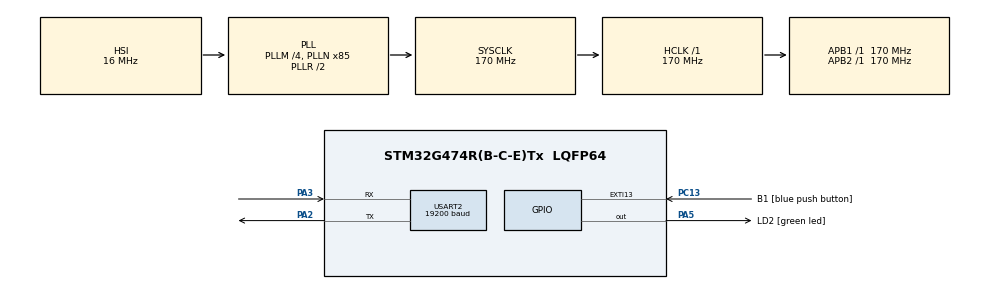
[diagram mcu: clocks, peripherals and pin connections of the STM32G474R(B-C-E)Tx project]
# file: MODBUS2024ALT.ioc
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Dma.Request0=USART2_TX
Dma.Request1=USART2_RX
Dma.USART2_RX.1.Direction=DMA_PERIPH_TO_MEMORY
Dma.USART2_RX.1.EventEnable=DISABLE
Dma.USART2_RX.1.Instance=DMA1_Channel2
Dma.USART2_RX.1.MemDataAlignment=DMA_MDATAALIGN_BYTE
Dma.USART2_RX.1.MemInc=DMA_MINC_ENABLE
Dma.USART2_RX.1.Mode=DMA_NORMAL
Dma.USART2_RX.1.PeriphDataAlignment=DMA_PDATAALIGN_BYTE
Dma.USART2_RX.1.PeriphInc=DMA_PINC_DISABLE
Dma.USART2_RX.1.Polarity=HAL_DMAMUX_REQ_GEN_RISING
Dma.USART2_RX.1.Priority=DMA_PRIORITY_LOW
Dma.USART2_RX.1.RequestNumber=1
Dma.USART2_RX.1.SignalID=NONE
Dma.USART2_RX.1.SyncEnable=DISABLE
Dma.USART2_RX.1.SyncPolarity=HAL_DMAMUX_SYNC_NO_EVENT
Dma.USART2_RX.1.SyncRequestNumber=1
Dma.USART2_RX.1.SyncSignalID=NONE
Dma.USART2_TX.0.Direction=DMA_MEMORY_TO_PERIPH
Dma.USART2_TX.0.EventEnable=DISABLE
Dma.USART2_TX.0.Instance=DMA1_Channel1
Dma.USART2_TX.0.MemDataAlignment=DMA_MDATAALIGN_BYTE
Dma.USART2_TX.0.MemInc=DMA_MINC_ENABLE
Dma.USART2_TX.0.Mode=DMA_NORMAL
Dma.USART2_TX.0.PeriphDataAlignment=DMA_PDATAALIGN_BYTE
Dma.USART2_TX.0.PeriphInc=DMA_PINC_DISABLE
Dma.USART2_TX.0.Polarity=HAL_DMAMUX_REQ_GEN_RISING
Dma.USART2_TX.0.Priority=DMA_PRIORITY_LOW
Dma.USART2_TX.0.RequestNumber=1
Dma.USART2_TX.0.SignalID=NONE
Dma.USART2_TX.0.SyncEnable=DISABLE
Dma.USART2_TX.0.SyncPolarity=HAL_DMAMUX_SYNC_NO_EVENT
Dma.USART2_TX.0.SyncRequestNumber=1
Dma.USART2_TX.0.SyncSignalID=NONE
Mcu.Family=STM32G4
Mcu.Name=STM32G474R(B-C-E)Tx
Mcu.Package=LQFP64
NVIC.DMA1_Channel1_IRQn=true\:0\:0\:false\:false\:true\:false\:true\:true
NVIC.DMA1_Channel2_IRQn=true\:0\:0\:false\:false\:true\:false\:true\:true
NVIC.EXTI15_10_IRQn=true\:0\:0\:false\:false\:true\:true\:true\:true
NVIC.PriorityGroup=NVIC_PRIORITYGROUP_4
NVIC.TIM1_UP_TIM16_IRQn=true\:0\:0\:false\:false\:true\:true\:true\:true
NVIC.USART2_IRQn=true\:0\:0\:false\:false\:true\:true\:true\:true
PA13.GPIO_Label=T_SWDIO
PA13.Mode=Serial_Wire
PA13.Signal=SYS_JTMS-SWDIO
PA14.GPIO_Label=T_SWCLK
PA14.Mode=Serial_Wire
PA14.Signal=SYS_JTCK-SWCLK
PA2.Mode=Asynchronous
PA2.Signal=USART2_TX
PA3.Mode=Asynchronous
PA3.Signal=USART2_RX
PA5.GPIO_Label=LD2 [green led]
PA5.Signal=GPIO_Output
PB3.GPIO_Label=T_SWO
PB3.Signal=SYS_JTDO-SWO
PC13.GPIO_Label=B1 [blue push button]
PC13.Signal=GPXTI13
PC14-OSC32_IN.Mode=LSE-External-Oscillator
PC14-OSC32_IN.Signal=RCC_OSC32_IN
PC15-OSC32_OUT.Mode=LSE-External-Oscillator
PC15-OSC32_OUT.Signal=RCC_OSC32_OUT
PF0-OSC_IN.Mode=HSE-External-Oscillator
PF0-OSC_IN.Signal=RCC_OSC_IN
PF1-OSC_OUT.Mode=HSE-External-Oscillator
PF1-OSC_OUT.Signal=RCC_OSC_OUT
ProjectManager.HeapSize=0x200
ProjectManager.StackSize=0x400
ProjectManager.TargetToolchain=STM32CubeIDE
RCC.ADC12Freq_Value=170000000
RCC.ADC345Freq_Value=170000000
RCC.AHBFreq_Value=170000000
RCC.APB1Freq_Value=170000000
RCC.APB1TimFreq_Value=170000000
RCC.APB2Freq_Value=170000000
RCC.APB2TimFreq_Value=170000000
RCC.CortexFreq_Value=170000000
RCC.EXTERNAL_CLOCK_VALUE=12288000
RCC.HCLKFreq_Value=170000000
RCC.HSE_VALUE=24000000
RCC.HSI48_VALUE=48000000
RCC.HSI_VALUE=16000000
RCC.PLLM=RCC_PLLM_DIV4
RCC.PLLN=85
RCC.RTCClockSelection=RCC_RTCCLKSOURCE_LSE
RCC.SYSCLKFreq_VALUE=170000000
RCC.SYSCLKSource=RCC_SYSCLKSOURCE_PLLCLK
RCC.USBFreq_Value=170000000
RCC.VCOOutputFreq_Value=340000000
TIM16.PeriodNoDither=1145
TIM16.Prescaler=169
TIM2.PeriodNoDither=200000
TIM2.Prescaler=169
USART2.BaudRate=19200
USART2.OneBitSampling=UART_ONE_BIT_SAMPLE_DISABLE
USART2.Parity=PARITY_EVEN
USART2.VirtualMode-Asynchronous=VM_ASYNC
USART2.WordLength=WORDLENGTH_9B
VP_SYS_VS_DBSignals.Mode=DisableDeadBatterySignals
VP_TIM16_VS_ClockSourceINT.Mode=Enable_Timer
VP_TIM16_VS_OPM.Mode=OPM_bit
VP_TIM2_VS_ClockSourceINT.Mode=Internal
board=NUCLEO-G474RE

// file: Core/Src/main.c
/* USER CODE BEGIN Header */
/**
  ******************************************************************************
  * @file           : main.c
  * @brief          : Main program body
  ******************************************************************************
  * @attention
  *
  * Copyright (c) 2024 STMicroelectronics.
  * All rights reserved.
  *
  * This software is licensed under terms that can be found in the LICENSE file
  * in the root directory of this software component.
  * If no LICENSE file comes with this software, it is provided AS-IS.
  *
  ******************************************************************************
  */
/* USER CODE END Header */
#include "main.h"

/* USER CODE BEGIN Includes */
#include "ModBusRTU.h"
/* USER CODE END Includes */

TIM_HandleTypeDef htim2;
TIM_HandleTypeDef htim16;

UART_HandleTypeDef huart2;
DMA_HandleTypeDef hdma_usart2_tx;
DMA_HandleTypeDef hdma_usart2_rx;

/* USER CODE BEGIN PV */
ModbusHandleTypedef hmodbus;
u16u8_t registerFrame[200];

int count=0;
int vaccum;
int gripper;
/* USER CODE END PV */

void SystemClock_Config(void);
static void MX_GPIO_Init(void);
static void MX_DMA_Init(void);
static void MX_USART2_UART_Init(void);
static void MX_TIM16_Init(void);
static void MX_TIM2_Init(void);
/* USER CODE BEGIN PFP */
void set_shelves();
void set_goalpoint();
void run_pointmode();
void set_home();
void pick_place();
void run_jogmode();
/* USER CODE END PFP */

int main(void)
{

  /* MCU Configuration--------------------------------------------------------*/

  /* Reset of all peripherals, Initializes the Flash interface and the Systick. */
  HAL_Init();

  /* Configure the system clock */
  SystemClock_Config();

  /* Initialize all configured peripherals */
  MX_GPIO_Init();
  MX_DMA_Init();
  MX_USART2_UART_Init();
  MX_TIM16_Init();
  MX_TIM2_Init();
  /* USER CODE BEGIN 2 */
  hmodbus.huart = &huart2;
  hmodbus.htim = &htim16;
  hmodbus.slaveAddress = 0x15;
  hmodbus.RegisterSize =200;
  Modbus_init(&hmodbus, registerFrame);

//  HAL_TIM_Base_Start_IT(&htim2);
  /* USER CODE END 2 */

  /* Infinite loop */
  while (1)
  {

    /* USER CODE BEGIN 3 */
	  Modbus_Protocal_Worker();

	  registerFrame[0x00].U16=22881;

	  vaccum=registerFrame[2].U16;
	  gripper=registerFrame[2].U16;

	  set_shelves();
	  set_goalpoint();
	  run_pointmode();
	  set_home();
	  pick_place();
	  run_jogmode();

  }
  /* USER CODE END 3 */
}

void SystemClock_Config(void)
{
  RCC_OscInitTypeDef RCC_OscInitStruct = {0};
  RCC_ClkInitTypeDef RCC_ClkInitStruct = {0};

  /** Configure the main internal regulator output voltage
  */
  HAL_PWREx_ControlVoltageScaling(PWR_REGULATOR_VOLTAGE_SCALE1_BOOST);

  /** Initializes the RCC Oscillators according to the specified parameters
  * in the RCC_OscInitTypeDef structure.
  */
  RCC_OscInitStruct.OscillatorType = RCC_OSCILLATORTYPE_HSI;
  RCC_OscInitStruct.HSIState = RCC_HSI_ON;
  RCC_OscInitStruct.HSICalibrationValue = RCC_HSICALIBRATION_DEFAULT;
  RCC_OscInitStruct.PLL.PLLState = RCC_PLL_ON;
  RCC_OscInitStruct.PLL.PLLSource = RCC_PLLSOURCE_HSI;
  RCC_OscInitStruct.PLL.PLLM = RCC_PLLM_DIV4;
  RCC_OscInitStruct.PLL.PLLN = 85;
  RCC_OscInitStruct.PLL.PLLP = RCC_PLLP_DIV2;
  RCC_OscInitStruct.PLL.PLLQ = RCC_PLLQ_DIV2;
  RCC_OscInitStruct.PLL.PLLR = RCC_PLLR_DIV2;
  if (HAL_RCC_OscConfig(&RCC_OscInitStruct) != HAL_OK)
  {
    Error_Handler();
  }

  /** Initializes the CPU, AHB and APB buses clocks
  */
  RCC_ClkInitStruct.ClockType = RCC_CLOCKTYPE_HCLK|RCC_CLOCKTYPE_SYSCLK
                              |RCC_CLOCKTYPE_PCLK1|RCC_CLOCKTYPE_PCLK2;
  RCC_ClkInitStruct.SYSCLKSource = RCC_SYSCLKSOURCE_PLLCLK;
  RCC_ClkInitStruct.AHBCLKDivider = RCC_SYSCLK_DIV1;
  RCC_ClkInitStruct.APB1CLKDivider = RCC_HCLK_DIV1;
  RCC_ClkInitStruct.APB2CLKDivider = RCC_HCLK_DIV1;

  if (HAL_RCC_ClockConfig(&RCC_ClkInitStruct, FLASH_LATENCY_4) != HAL_OK)
  {
    Error_Handler();
  }
}

static void MX_TIM2_Init(void)
{

  TIM_ClockConfigTypeDef sClockSourceConfig = {0};
  TIM_MasterConfigTypeDef sMasterConfig = {0};

  htim2.Instance = TIM2;
  htim2.Init.Prescaler = 169;
  htim2.Init.CounterMode = TIM_COUNTERMODE_UP;
  htim2.Init.Period = 200000;
  htim2.Init.ClockDivision = TIM_CLOCKDIVISION_DIV1;
  htim2.Init.AutoReloadPreload = TIM_AUTORELOAD_PRELOAD_DISABLE;
  if (HAL_TIM_Base_Init(&htim2) != HAL_OK)
  {
    Error_Handler();
  }
  sClockSourceConfig.ClockSource = TIM_CLOCKSOURCE_INTERNAL;
  if (HAL_TIM_ConfigClockSource(&htim2, &sClockSourceConfig) != HAL_OK)
  {
    Error_Handler();
  }
  sMasterConfig.MasterOutputTrigger = TIM_TRGO_RESET;
  sMasterConfig.MasterSlaveMode = TIM_MASTERSLAVEMODE_DISABLE;
  if (HAL_TIMEx_MasterConfigSynchronization(&htim2, &sMasterConfig) != HAL_OK)
  {
    Error_Handler();
  }

}

static void MX_TIM16_Init(void)
{

  htim16.Instance = TIM16;
  htim16.Init.Prescaler = 169;
  htim16.Init.CounterMode = TIM_COUNTERMODE_UP;
  htim16.Init.Period = 1145;
  htim16.Init.ClockDivision = TIM_CLOCKDIVISION_DIV1;
  htim16.Init.RepetitionCounter = 0;
  htim16.Init.AutoReloadPreload = TIM_AUTORELOAD_PRELOAD_DISABLE;
  if (HAL_TIM_Base_Init(&htim16) != HAL_OK)
  {
    Error_Handler();
  }
  if (HAL_TIM_OnePulse_Init(&htim16, TIM_OPMODE_SINGLE) != HAL_OK)
  {
    Error_Handler();
  }

}

static void MX_USART2_UART_Init(void)
{

  huart2.Instance = USART2;
  huart2.Init.BaudRate = 19200;
  huart2.Init.WordLength = UART_WORDLENGTH_9B;
  huart2.Init.StopBits = UART_STOPBITS_1;
  huart2.Init.Parity = UART_PARITY_EVEN;
  huart2.Init.Mode = UART_MODE_TX_RX;
  huart2.Init.HwFlowCtl = UART_HWCONTROL_NONE;
  huart2.Init.OverSampling = UART_OVERSAMPLING_16;
  huart2.Init.OneBitSampling = UART_ONE_BIT_SAMPLE_DISABLE;
  huart2.Init.ClockPrescaler = UART_PRESCALER_DIV1;
  huart2.AdvancedInit.AdvFeatureInit = UART_ADVFEATURE_NO_INIT;
  if (HAL_UART_Init(&huart2) != HAL_OK)
  {
    Error_Handler();
  }
  if (HAL_UARTEx_SetTxFifoThreshold(&huart2, UART_TXFIFO_THRESHOLD_1_8) != HAL_OK)
  {
    Error_Handler();
  }
  if (HAL_UARTEx_SetRxFifoThreshold(&huart2, UART_RXFIFO_THRESHOLD_1_8) != HAL_OK)
  {
    Error_Handler();
  }
  if (HAL_UARTEx_DisableFifoMode(&huart2) != HAL_OK)
  {
    Error_Handler();
  }

}

static void MX_DMA_Init(void)
{

  /* DMA controller clock enable */
  __HAL_RCC_DMAMUX1_CLK_ENABLE();
  __HAL_RCC_DMA1_CLK_ENABLE();

  /* DMA interrupt init */
  /* DMA1_Channel1_IRQn interrupt configuration */
  HAL_NVIC_SetPriority(DMA1_Channel1_IRQn, 0, 0);
  HAL_NVIC_EnableIRQ(DMA1_Channel1_IRQn);
  /* DMA1_Channel2_IRQn interrupt configuration */
  HAL_NVIC_SetPriority(DMA1_Channel2_IRQn, 0, 0);
  HAL_NVIC_EnableIRQ(DMA1_Channel2_IRQn);

}

static void MX_GPIO_Init(void)
{
  GPIO_InitTypeDef GPIO_InitStruct = {0};

  /* GPIO Ports Clock Enable */
  __HAL_RCC_GPIOC_CLK_ENABLE();
  __HAL_RCC_GPIOF_CLK_ENABLE();
  __HAL_RCC_GPIOA_CLK_ENABLE();
  __HAL_RCC_GPIOB_CLK_ENABLE();

  /*Configure GPIO pin Output Level */
  HAL_GPIO_WritePin(LD2_GPIO_Port, LD2_Pin, GPIO_PIN_RESET);

  /*Configure GPIO pin : B1_Pin */
  GPIO_InitStruct.Pin = B1_Pin;
  GPIO_InitStruct.Mode = GPIO_MODE_IT_RISING;
  GPIO_InitStruct.Pull = GPIO_NOPULL;
  HAL_GPIO_Init(B1_GPIO_Port, &GPIO_InitStruct);

  /*Configure GPIO pin : LD2_Pin */
  GPIO_InitStruct.Pin = LD2_Pin;
  GPIO_InitStruct.Mode = GPIO_MODE_OUTPUT_PP;
  GPIO_InitStruct.Pull = GPIO_NOPULL;
  GPIO_InitStruct.Speed = GPIO_SPEED_FREQ_LOW;
  HAL_GPIO_Init(LD2_GPIO_Port, &GPIO_InitStruct);

  /* EXTI interrupt init*/
  HAL_NVIC_SetPriority(EXTI15_10_IRQn, 0, 0);
  HAL_NVIC_EnableIRQ(EXTI15_10_IRQn);

}

/* USER CODE BEGIN 4 */
void set_shelves(){
	if(registerFrame[0x01].U16==0b0001){
		registerFrame[0x10].U16=0b0001; //z-axis Moving Status
		registerFrame[0x01].U16=0b0000;
	}
//	if() บันทึกค่า shelves ทั้ง5ชั้นสำเร็จ
//	registerFrame[0x10].U16=0b0000;
}
void set_goalpoint(){
	//goal point z
}
void run_pointmode(){
	if(registerFrame[0x01].U16==0b1000){
		registerFrame[0x01].U16=0b0000;
		registerFrame[0x10].U16=0b00010000; //Go point
//	if()หุ่นเคลื่อนที่ไปยังแกน Z เสร็จสิ้น
//		registerFrame[0x10].U16=0b0000; //เสร็จ jogging
	}
}
void set_home(){
	if(registerFrame[0x01].U16==0b0010){
		registerFrame[0x01].U16=0b0000;
		registerFrame[0x10].U16=0b0010;
	}
//	if() เข้า Homing เสร็จสิ้น
//	registerFrame[0x10].U16=0b0000;
}
void pick_place(){
	registerFrame[0x21].U16=0; //ใส่ค่า set pick
	registerFrame[0x22].U16=0; //ใส่ค่า set place
}
void run_jogmode(){
	if(registerFrame[0x01].U16==0b0100){
		registerFrame[0x10].U16=0b0100;//Go pick
		registerFrame[0x10].U16=0b1000;//Go place
	}
//	if() วางเสร็จ
//	registerFrame[0x10].U16=0b0000;
}

/* USER CODE END 4 */

void Error_Handler(void)
{
  __disable_irq();
  while (1)
  {
  }
}
